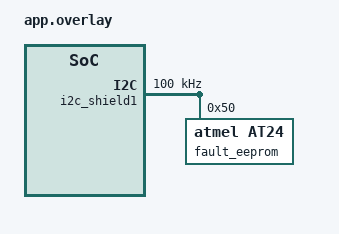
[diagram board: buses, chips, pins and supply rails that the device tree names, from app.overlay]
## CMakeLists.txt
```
cmake_minimum_required(VERSION 3.20.0)

# Allow Zephyr to find this lab's local DT binding
list(APPEND DTS_ROOT "${CMAKE_CURRENT_SOURCE_DIR}")

set(LAB24_EEPROM_IMAGE "${CMAKE_CURRENT_SOURCE_DIR}/state/fault-eeprom.bin"
	CACHE FILEPATH "Persistent 512-byte QEMU EEPROM image")

get_filename_component(LAB24_EEPROM_IMAGE "${LAB24_EEPROM_IMAGE}" ABSOLUTE
	BASE_DIR "${CMAKE_CURRENT_SOURCE_DIR}")

set(LAB24_QEMU_I2C_BUS "/versatile_i2c/i2c" CACHE STRING
	"QEMU I2C bus: verify it belongs to MMIO 0x4002a000 using info qtree")

# Consumed by Zephyr's existing QEMU runner
list(APPEND QEMU_EXTRA_FLAGS
	-drive "if=none,id=lab24_store,format=raw,cache=writethrough,file=${LAB24_EEPROM_IMAGE}"
	-device "at24c-eeprom,id=lab24_eeprom,bus=${LAB24_QEMU_I2C_BUS},address=0x50,rom-size=512,address-size=1,writable=on,drive=lab24_store")

find_package(Zephyr REQUIRED HINTS $ENV{ZEPHYR_BASE})

project(lab24_eeprom_fault_logger_zephyr LANGUAGES C)

target_sources(app PRIVATE
	src/main.c
	src/fault_log.c
)

target_include_directories(app PRIVATE
	"${CMAKE_CURRENT_SOURCE_DIR}/src"
)
```

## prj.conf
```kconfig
#
# I2C and EEPROM drivers
#
CONFIG_I2C=y
CONFIG_I2C_SBCON=y
CONFIG_EEPROM=y
CONFIG_EEPROM_AT24=y
CONFIG_PINCTRL=y

# Sparse progress messages
CONFIG_SERIAL=y
CONFIG_CONSOLE=y
CONFIG_UART_CONSOLE=y
CONFIG_PRINTK=y
CONFIG_LOG=n

#
# Real threads and GDB-friendly code
#
CONFIG_DEBUG=y
CONFIG_NO_OPTIMIZATIONS=y
CONFIG_ASSERT=y

#
# Runtime
#
CONFIG_MAIN_STACK_SIZE=2048
```

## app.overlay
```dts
/*
* Eight 32-byte solts reserve EEPROM offsets 0x00..0xff exclusively
* This is an AT24C02-compatible profile with 8-byte programming pages
*/
&i2c_shield1 {
    status = "okay";
    clock-frequency = <100000>;

    fault_eeprom: eeprom@50 {
        compatible = "atmel,at24";
        reg = <0x50>;
        size = <256>;
        pagesize = <8>;
        address-width = <8>;
        timeout = <10>;
        status = "okay";
    };
};
```

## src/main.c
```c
#include "fault_log.h"

#include <errno.h>
#include <stddef.h>

#include <zephyr/devicetree.h>
#include <zephyr/drivers/eeprom.h>
#include <zephyr/kernel.h>
#include <zephyr/sys/printk.h>
#include <zephyr/sys/util.h>

#define EEPROM_NODE DT_NODELABEL(fault_eeprom)
#define BUS_NODE DT_BUS(EEPROM_NODE)

#define NOT_RUN (-999)

BUILD_ASSERT(DT_NODE_HAS_STATUS(EEPROM_NODE, okay), "fault_eeprom must be enabled");
BUILD_ASSERT(DT_ON_BUS(EEPROM_NODE, i2c), "fault eeprom must use I2C");
BUILD_ASSERT(DT_REG_ADDR(BUS_NODE) == 0x4002a000U, "Expected MPS2 Shield1");
BUILD_ASSERT(DT_PROP(EEPROM_NODE, pagesize) == 8U, "Commit isolation requires 8-byte pages");
BUILD_ASSERT(DT_PROP(EEPROM_NODE, size) >= FAULT_LOG_BYTES, "Need 256 reserved bytes");
BUILD_ASSERT(DT_PROP(EEPROM_NODE, address_width) == 8U, "AT24C02 profile uses one address byte");

static const struct device *const g_eeprom = DEVICE_DT_GET(EEPROM_NODE);
static struct fault_log g_log;
static struct fault_log g_recovered_log;

enum lab24_stage {
    LAB24_STAGE_RESET = 0,
    LAB24_STAGE_INIT,
    LAB24_STAGE_READ_INITIAL,
    LAB24_STAGE_APPEND,
    LAB24_STAGE_RECOVER,
    LAB24_STAGE_VERIFY,
    LAB24_STAGE_DONE,
    LAB24_STAGE_ERROR,
};

volatile enum lab24_stage g_lab24_stage;
volatile enum lab24_stage g_failed_stage;

volatile int g_init_rc = NOT_RUN;
volatile int g_initial_latest_rc = NOT_RUN;
volatile int g_append_rc = NOT_RUN;
volatile int g_recover_rc = NOT_RUN;
volatile int g_latest_rc = NOT_RUN;
volatile int g_compare_rc = NOT_RUN;

volatile uint32_t g_initial_sequence;
volatile uint32_t g_committed_sequence;

volatile uint8_t g_initial_slot = FAULT_LOG_NO_SLOT;
volatile uint8_t g_committed_slot = FAULT_LOG_NO_SLOT;

volatile uint32_t g_initial_fault_code;
volatile uint32_t g_latest_fault_code;

volatile uint32_t g_fault_to_append = 0x10010001U;
volatile uint32_t g_attempted_fault_code;
volatile uintptr_t g_i2c_mmio_base;

volatile size_t g_eeprom_size;

__attribute__((noinline)) void lab24_checkpoint(void) {
    __asm__ volatile ("" ::: "memory");
}

static void fail_lab(void) {
    g_failed_stage = g_lab24_stage;
    g_lab24_stage = LAB24_STAGE_ERROR;

    printk("LAB24 ERROR stage=%u init=%d initial=%d append=%d recover=%d latest=%d\n",
		    (unsigned int) g_failed_stage, g_init_rc, g_initial_latest_rc, g_append_rc, g_recover_rc, g_latest_rc);

    lab24_checkpoint();
    for (;;) {
        k_sleep(K_FOREVER);
    }
}

int main(void) {
    uint32_t value = 0U;
    g_i2c_mmio_base = DT_REG_ADDR(BUS_NODE);
    printk("LAB24 BOOT\n");

    g_lab24_stage = LAB24_STAGE_INIT;
    lab24_checkpoint();

    g_init_rc = fault_log_init(&g_log, g_eeprom);

    if (g_init_rc != 0)
	fail_lab();

    g_eeprom_size = eeprom_get_size(g_eeprom);
    g_initial_sequence = g_log.sequence;
    g_initial_slot = g_log.newest_slot;

    g_lab24_stage = LAB24_STAGE_READ_INITIAL;
    lab24_checkpoint();

    g_initial_latest_rc = fault_log_latest(&g_log, &value);

    if (g_initial_latest_rc != 0 && g_initial_latest_rc != -ENOENT)
	fail_lab();

    if (g_initial_latest_rc == 0)
	g_initial_fault_code = value;

    printk("LAB24 RECOVER rc=%d seq=%u slot=%u code=0x%08x\n", 
		    g_initial_latest_rc, g_initial_sequence, (unsigned int)g_initial_slot, g_initial_fault_code);

    g_lab24_stage = LAB24_STAGE_APPEND;
    lab24_checkpoint();

    g_attempted_fault_code = g_fault_to_append;
    g_append_rc = fault_log_append(&g_log, g_attempted_fault_code);

    if (g_append_rc != 0)
	fail_lab();

    g_lab24_stage = LAB24_STAGE_RECOVER;
    lab24_checkpoint();

    g_recover_rc = fault_log_init(&g_recovered_log, g_eeprom);

    if (g_recover_rc != 0)
	fail_lab();

    g_lab24_stage = LAB24_STAGE_VERIFY;
    lab24_checkpoint();

    g_latest_rc = fault_log_latest(&g_recovered_log, &value);

    if (g_latest_rc != 0)
	fail_lab();

    g_latest_fault_code = value;
    g_committed_sequence = g_recovered_log.sequence;
    g_committed_slot = g_recovered_log.newest_slot;

    const uint32_t expected_sequence = g_initial_slot == FAULT_LOG_NO_SLOT ? 1U : g_initial_sequence + 1U;
    const uint8_t expected_slot = g_initial_slot == FAULT_LOG_NO_SLOT ? 0U : (uint8_t) ((g_initial_slot + 1U) % FAULT_LOG_SLOT_COUNT);

    g_compare_rc = (value == g_attempted_fault_code && g_committed_sequence == expected_sequence && g_committed_slot == expected_slot) ? 0 : -EIO;

    if (g_compare_rc != 0)
	fail_lab();

    g_lab24_stage = LAB24_STAGE_DONE;

    printk("LAB24 DONE seq=%u slot=%u code=0x%08x\n",
		    g_committed_sequence, (unsigned int) g_committed_slot, g_latest_fault_code);

    lab24_checkpoint();

    for (;;) {
        k_sleep(K_FOREVER);
    }

    return 0;
}
```

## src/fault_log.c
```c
#include "fault_log.h"

#include <errno.h>
#include <stddef.h>
#include <string.h>

#include <zephyr/drivers/eeprom.h>

/* Body pages and commit page are disjoint even during page-local tearing */
static const uint8_t magic[4] = {'F', 'L', 'T', '1'};
static const uint8_t committed[FAULT_LOG_COMMIT_SIZE] = {
    0xa5U, 0x5aU, 0xc3U, 0x3cU, 0x96U, 0x69U, 0xf0U, 0x0fU
};

static const uint8_t invalid[FAULT_LOG_COMMIT_SIZE] = {0};

static uint32_t load_le32(const uint8_t *p) {
    return (uint32_t)p[0] | ((uint32_t)p[1] << 8) |
	   ((uint32_t)p[2] << 16 | ((uint32_t)p[3]) << 24);
}

static void store_le32(uint8_t *p, uint32_t v) {
    for (unsigned int i = 0U; i < 4U; ++i) {
        p[i] = (uint8_t) (v >> (8U * i));
    }
}

/* CRC-32/ISO-HDLC */
static uint32_t crc32(const uint8_t *p, size_t size) {
    uint32_t crc = UINT32_MAX;

    for (size_t i = 0U; i < size; ++i) {
       crc ^= p[i];

       for (unsigned int bit = 0U; bit < 8U; ++bit) {
           crc = (crc >> 1) ^ ((crc & 1U) ? UINT32_C(0xedb88320) : 0U);
       }
    }

    return crc ^ UINT32_MAX;
}

static off_t slot_offset(uint8_t slot) {
    return (off_t)((unsigned int)slot * FAULT_LOG_SLOT_SIZE);
}

static bool record_valid(const uint8_t data[FAULT_LOG_SLOT_SIZE]) {
    return memcmp(data + FAULT_LOG_COMMIT_OFFSET, committed, sizeof(committed)) == 0 &&
	   memcmp(data, magic, sizeof(magic)) == 0 &&
	   load_le32(data + 12U) == crc32(data, 12U);
}

static bool newer(uint32_t a, uint32_t b) {
    const uint32_t delta = a - b;
    return delta != 0U && delta < UINT32_C(0x80000000);
}

static int usable(const struct fault_log *log) {
    if (log == NULL || log->dev == NULL) {
        return -EINVAL;
    }

    if (!log->initialized) {
        return -EIO;
    }

    if (log->newest_slot != FAULT_LOG_NO_SLOT && log->newest_slot >= FAULT_LOG_SLOT_COUNT) {
        return -EINVAL;
    }

    return device_is_ready(log->dev) ? 0 : -ENODEV;
}

int fault_log_init(struct fault_log *log, const struct device *dev) {
    if (log == NULL)
        return -EINVAL;

    /* Failed initialization must not leave stale metadata usable */
    *log = (struct fault_log) {
        .newest_slot = FAULT_LOG_NO_SLOT
    };

    if ( dev == NULL)
        return -EINVAL;

    if (!device_is_ready(dev))
	return -ENODEV;

    if (eeprom_get_size(dev) < FAULT_LOG_BYTES) {
        return -ENOSPC;
    }

    struct fault_log recovered = {
        .dev = dev,
	.newest_slot = FAULT_LOG_NO_SLOT,
    };

    
    uint8_t bytes[FAULT_LOG_SLOT_SIZE];
    uint32_t sequences[FAULT_LOG_SLOT_COUNT] = {0};
    uint8_t valid_mask = 0U;

    for (uint8_t slot = 0U; slot < FAULT_LOG_SLOT_COUNT; ++slot) {
        const int rc = eeprom_read(dev, slot_offset(slot), bytes, sizeof(bytes));

	if (rc != 0)
	    return rc;

	if (!record_valid(bytes)) {
	   continue;
	}

	const uint32_t seq = load_le32(bytes + 4U);
	sequences[slot] = seq;
	valid_mask |= (uint8_t)(1U << slot);

	if (recovered.newest_slot == FAULT_LOG_NO_SLOT || newer(seq, recovered.sequence)) {
	    recovered.sequence = seq;
	    recovered.newest_slot = slot;
	}
    }

    /* A correctly generated eight-slot ring spans at most seven increments */
    for (uint8_t slot = 0U; slot < FAULT_LOG_SLOT_COUNT; ++slot) {
        if ((valid_mask & (uint8_t)(1U << slot)) != 0U && slot != recovered.newest_slot) {
	    const uint32_t age = recovered.sequence - sequences[slot];

	    if (age == 0U || age >= FAULT_LOG_SLOT_COUNT) {
	        return -EILSEQ;
	    }
	}
    }

    recovered.initialized = true;
    *log = recovered;
    return 0;
}

int fault_log_append(struct fault_log *log, uint32_t fault_code) {
    int rc = usable(log);

    if (rc != 0)
	return rc;

    const bool empty = log->newest_slot == FAULT_LOG_NO_SLOT;
    const uint8_t target = empty ? 0U : (uint8_t) ((log->newest_slot + 1U) % FAULT_LOG_SLOT_COUNT);

    const uint32_t sequence = empty ? 1U : log->sequence + 1U;
    const off_t base = slot_offset(target);
    uint8_t body[FAULT_LOG_BODY_SIZE];
    uint8_t check[FAULT_LOG_SLOT_SIZE];

    memcpy(body, magic, sizeof(magic));
    store_le32(body + 4U, sequence);
    store_le32(body + 8U, fault_code);
    store_le32(body + 12U, crc32(body, 12U));

    /* Any error after this point requires a rescan, not a blind retry */
    log->initialized = false;

    /*  1. Invalidate and verify the old token BEFORE touching its body */
    rc = eeprom_write(log->dev, base + FAULT_LOG_COMMIT_OFFSET, invalid, sizeof(invalid));

    if (rc != 0)
	return rc;

    rc = eeprom_read(log->dev, base + FAULT_LOG_COMMIT_OFFSET, check, sizeof(invalid));

    if (rc != 0)
	return rc;

    if (memcmp(check, invalid, sizeof(invalid)) != 0) {
        return -EIO;
    }

    /* 2. Program and verify the body while the commit page stays invalid */
    rc = eeprom_write(log->dev, base, body, sizeof(body));

    if (rc != 0)
	return rc;

    rc = eeprom_read(log->dev, base, check, sizeof(body));

    if (rc != 0)
        return rc;

    if (memcmp(check, body, sizeof(body)) != 0)
	return -EIO;

    /* 3. Publish last, then verify the whole record before updating RAM */
    rc = eeprom_write(log->dev, base + FAULT_LOG_COMMIT_OFFSET, committed, sizeof(committed));

    if (rc != 0)
        return rc;

    rc = eeprom_read(log->dev, base, check, sizeof(check));

    if (rc != 0)
	return rc;

    if (!record_valid(check) || memcmp(check, body, sizeof(body)) != 0) {
        return -EIO;
    }

    log->sequence = sequence;
    log->newest_slot = target;
    log->initialized = true;
    return 0;
}

int fault_log_latest(struct fault_log *log, uint32_t *fault_code) {
    if (fault_code == NULL) {
        return -EINVAL;
    }

    int rc = usable(log);

    if (rc != 0)
	return rc;

    if (log->newest_slot == FAULT_LOG_NO_SLOT) {
        return -ENOENT;
    }

    uint8_t bytes[FAULT_LOG_SLOT_SIZE];

    rc = eeprom_read(log->dev, slot_offset(log->newest_slot), bytes, sizeof(bytes));

    if (rc != 0)
	return rc;

    if (!record_valid(bytes) || load_le32(bytes + 4U) != log->sequence) {
        log->initialized = false;
	return -EILSEQ;
    }

    *fault_code = load_le32(bytes + 8U);

    return 0;
}
```

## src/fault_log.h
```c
#ifndef LAB24_FAULT_LOG_H
#define LAB24_FAULT_LOG_H

#include <stdbool.h>
#include <stdint.h>

#include <zephyr/device.h>

#define FAULT_LOG_SLOT_COUNT     8U
#define FAULT_LOG_SLOT_SIZE      32U
#define FAULT_LOG_BYTES          (FAULT_LOG_SLOT_COUNT * FAULT_LOG_SLOT_SIZE)
#define FAULT_LOG_BODY_SIZE      16U
#define FAULT_LOG_COMMIT_OFFSET  24U
#define FAULT_LOG_COMMIT_SIZE    8U
#define FAULT_LOG_NO_SLOT        UINT8_MAX

struct fault_log {
    const struct device *dev;
    uint32_t sequence;
    uint8_t newest_slot;
    bool initialized;
};

int fault_log_init(struct fault_log *log, const struct device *dev);

int fault_log_append(struct fault_log *log, uint32_t fault_code);

int fault_log_latest(struct fault_log *log, uint32_t *fault_code);


#endif
```
